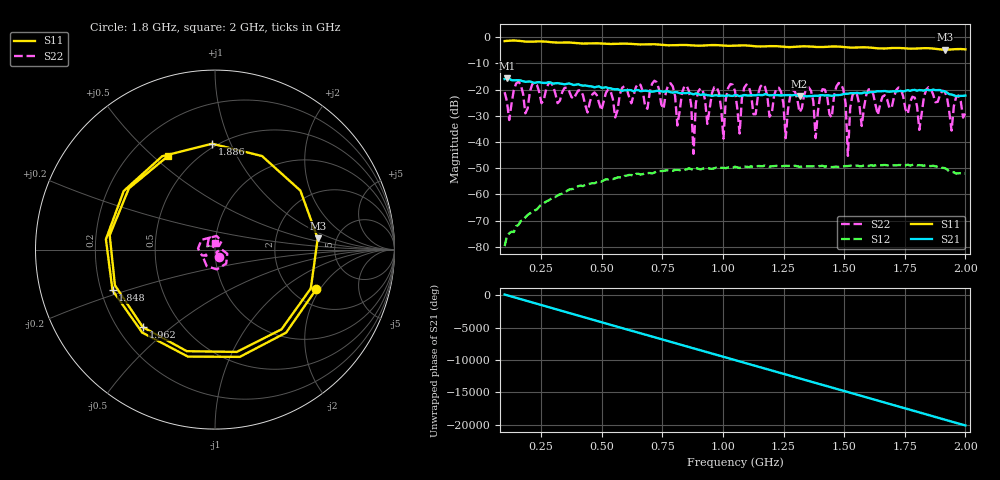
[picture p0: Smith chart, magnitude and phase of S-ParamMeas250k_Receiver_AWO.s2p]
!Keysight Technologies,N5242B,MY48420967,A.15.65.19
!Date: Saturday, February 04, 2023 14:42:28
!Correction: S11(C  1-Port  )
!S21(Off)
!S12(Off)
!S22(Off)
!S2P File: Measurements: S11, S21, S12, S22:
# Hz S  dB  R 50
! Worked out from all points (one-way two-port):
!   201 points, 100 MHz to 2 GHz, reference 50 ohm
!   highest |S21| = -15.71 dB at 109.5 MHz (marker M1); lowest = -22.6 dB at 1.316 GHz (marker M2)
!   lowest |S11| = -4.8 dB at 1.915 GHz (marker M3), VSWR 3.71, Z = 179 + j33.4 ohm
!   |S11| at or under -10 dB: nowhere
!   |S22| runs from -45.3 to -16.6 dB; largest |S21 - S12| = 0.16
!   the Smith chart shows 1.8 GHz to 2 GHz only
!   S11 on the Smith chart (normalised r, x): 1.8 GHz: 2.65, -1.85; 1.848 GHz: 0.25, -0.18; 1.886 GHz: 0.47, +0.85; 1.962 GHz: 0.30, -0.40; 2 GHz: 0.35, +0.56
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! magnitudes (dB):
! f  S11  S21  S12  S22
! 100 MHz  -1.5  -16.0  -79.7  -21.0
! 109.5 MHz  -1.4  -15.7  -76.0  -24.4
! 423 MHz  -2.5  -18.5  -56.8  -22.1
! 736.5 MHz  -2.8  -20.5  -51.0  -19.8
! 850.5 MHz  -3.0  -21.4  -50.4  -18.6
! 879 MHz  -3.2  -21.8  -50.6  -44.5
! 898 MHz  -3.3  -21.7  -50.2  -20.8
! 1.002 GHz  -3.2  -22.3  -49.8  -38.7
! 1.05 GHz  -3.3  -22.1  -49.4  -20.6
! 1.069 GHz  -3.2  -22.5  -49.9  -36.8
! 1.316 GHz  -3.6  -22.6  -49.5  -28.7
! 1.373 GHz  -3.7  -22.4  -49.2  -24.5
! 1.487 GHz  -3.7  -22.0  -49.4  -17.8
! 1.516 GHz  -3.9  -21.6  -49.2  -45.3
! 1.544 GHz  -4.0  -21.4  -49.0  -20.9
! 1.687 GHz  -4.2  -20.8  -49.0  -27.0
! 1.8 GHz  -4.4  -20.4  -48.9  -26.3
! 1.848 GHz  -4.2  -20.2  -49.1  -19.1
! 1.886 GHz  -4.6  -20.2  -49.4  -24.7
! 1.915 GHz  -4.8  -20.7  -49.9  -20.6
! 1.962 GHz  -4.6  -22.5  -52.1  -22.8
! 2 GHz  -4.7  -22.3  -52.0  -28.9
